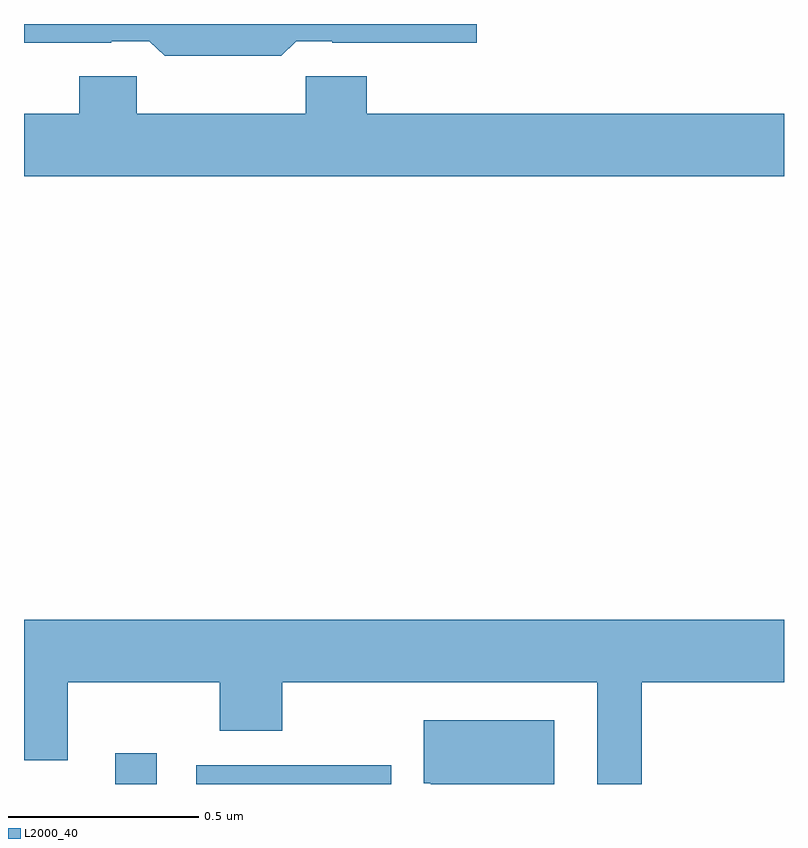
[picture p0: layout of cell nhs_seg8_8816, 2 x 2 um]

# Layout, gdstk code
import gdstk
lib = gdstk.Library(unit=1e-6, precision=1e-09)
def R(c, l, rs):  # rectangles x0, y0, x1, y1
    for r in rs: c.add(gdstk.rectangle(r[:2], r[2:], *l))
def P(c, l, *ps):  # polygons
    for p in ps: c.add(gdstk.Polygon(p, *l))
L2000_40 = (2000, 40)

nhs_seg8_8816 = lib.new_cell('nhs_seg8_8816')
R(nhs_seg8_8816, L2000_40, [(228.24,1114.9,228.349,1114.981), (228.453,1114.9,228.967,1114.95)])
P(nhs_seg8_8816, L2000_40, [(228.717,1116.855),(228.811,1116.855),(228.811,1116.851),(229.192,1116.851),(229.192,1116.9),(228,1116.9),(228,1116.851),(228.23,1116.851),(228.23,1116.855),(228.33,1116.855),(228.37,1116.816),(228.677,1116.816)],
  [(230,1116.664),(228.902,1116.664),(228.902,1116.762),(228.742,1116.762),(228.742,1116.664),(228.297,1116.664),(228.297,1116.762),(228.146,1116.762),(228.146,1116.664),(228,1116.664),(228,1116.5),(230,1116.5)],
  [(229.625,1115.168),(230,1115.168),(230,1115.332),(228,1115.332),(228,1114.962),(228.115,1114.962),(228.115,1115.168),(228.515,1115.168),(228.515,1115.04),(228.679,1115.04),(228.679,1115.168),(229.509,1115.168),(229.509,1114.9),(229.625,1114.9)],
  [(229.396,1115.068),(229.052,1115.068),(229.052,1114.902),(229.07,1114.902),(229.07,1114.9),(229.396,1114.9)])

lib.write_gds('nhs_seg8_8816.gds')
